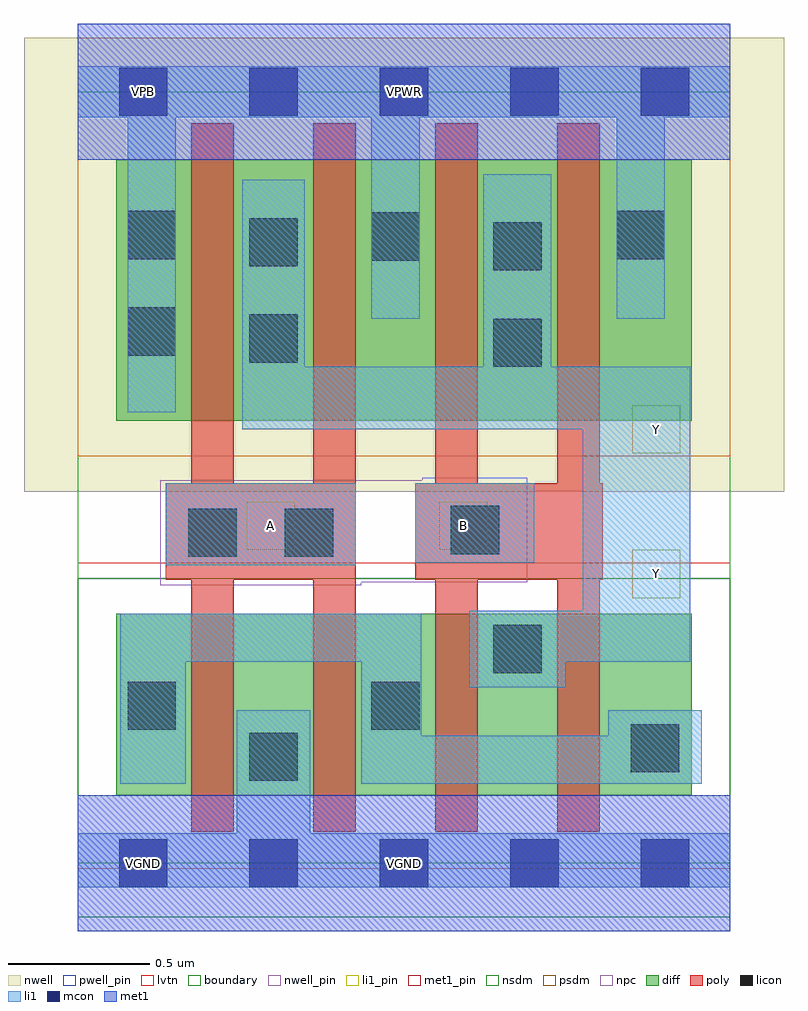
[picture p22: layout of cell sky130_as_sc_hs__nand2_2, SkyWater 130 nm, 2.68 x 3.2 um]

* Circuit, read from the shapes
.subckt sky130_as_sc_hs__nand2_2 A B VGND VNB VPB VPWR Y
XM1 VGND A n1 VNB sky130_fd_pr__nfet_01v8_lvt w=0.64 l=0.15 m=2
XM2 Y B n1 VNB sky130_fd_pr__nfet_01v8_lvt w=0.64 l=0.15 m=2
XM3 Y A VPWR VPB sky130_fd_pr__pfet_01v8 w=0.92 l=0.15 m=2
XM4 Y B VPWR VPB sky130_fd_pr__pfet_01v8 w=0.92 l=0.15 m=2
.ends

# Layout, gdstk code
import gdstk
lib = gdstk.Library(unit=1e-6, precision=1e-09)
def R(c, l, rs):  # rectangles x0, y0, x1, y1
    for r in rs: c.add(gdstk.rectangle(r[:2], r[2:], *l))
def A(c, l, x, y, w, h, nx, ny, dx, dy):  # array of equal rectangles
    R(c, l, [(x+i*dx, y+j*dy, x+i*dx+w, y+j*dy+h) for i in range(nx) for j in range(ny)])
nwell_pin = (64, 16)
nwell = (64, 20)
diff = (65, 20)
poly = (66, 20)
licon = (66, 44)
li1_pin = (67, 16)
li1 = (67, 20)
mcon = (67, 44)
met1_pin = (68, 16)
met1 = (68, 20)
nsdm = (93, 44)
psdm = (94, 20)
npc = (95, 20)
pwell_pin = (122, 16)
lvtn = (125, 44)
boundary = (235, 4)

sky130_as_sc_hs__nand2_2 = lib.new_cell('sky130_as_sc_hs__nand2_2')
R(sky130_as_sc_hs__nand2_2, nwell_pin, [(0.145,2.635,0.315,2.805)])
R(sky130_as_sc_hs__nand2_2, nwell, [(-0.19,1.31,2.49,2.91)])
R(sky130_as_sc_hs__nand2_2, diff, [(0.135,0.24,2.165,0.88), (0.135,1.56,2.165,2.48)])
A(sky130_as_sc_hs__nand2_2, poly, 0.4, 0.11, 0.15, 0.89, 4, 1, 0.43, 0)
A(sky130_as_sc_hs__nand2_2, poly, 0.4, 1.34, 0.15, 1.27, 4, 1, 0.43, 0)
R(sky130_as_sc_hs__nand2_2, poly, [(0.31,1,0.98,1.34), (1.19,1,1.85,1.34)])
R(sky130_as_sc_hs__nand2_2, licon, [(0.605,0.29,0.775,0.46), (1.95,0.32,2.12,0.49), (0.175,0.47,0.345,0.64), (1.035,0.47,1.205,0.64), (1.465,0.67,1.635,0.84), (0.39,1.08,0.56,1.25), (0.73,1.08,0.9,1.25), (1.315,1.09,1.485,1.26), (1.465,1.75,1.635,1.92), (0.605,1.765,0.775,1.935), (0.175,1.79,0.345,1.96), (1.465,2.09,1.635,2.26), (0.605,2.105,0.775,2.275), (1.035,2.125,1.205,2.295), (0.175,2.13,0.345,2.3), (1.9,2.13,2.07,2.3)])
R(sky130_as_sc_hs__nand2_2, li1_pin, [(1.955,0.935,2.125,1.105), (0.595,1.105,0.765,1.275), (1.275,1.105,1.445,1.275), (1.955,1.445,2.125,1.615)])
R(sky130_as_sc_hs__nand2_2, li1, [(0,-0.085,2.3,0.105), (0.56,0.105,0.82,0.54), (0.15,0.28,0.38,0.71), (1,0.28,2.2,0.45), (1,0.45,1.21,0.71), (1.87,0.45,2.2,0.54), (1.38,0.62,1.72,0.71), (0.15,0.71,1.21,0.88), (1.38,0.71,2.16,0.89), (1.78,0.89,2.16,1.53), (0.31,1.05,0.98,1.34), (1.19,1.06,1.61,1.34), (0.58,1.53,2.16,1.75), (0.175,1.59,0.345,2.63), (0.58,1.75,0.8,2.41), (1.43,1.75,1.67,2.43), (1.035,1.92,1.205,2.63), (1.9,1.92,2.07,2.63), (0,2.63,2.3,2.81)])
A(sky130_as_sc_hs__nand2_2, mcon, 0.145, -0.085, 0.17, 0.17, 5, 2, 0.46, 2.72)
R(sky130_as_sc_hs__nand2_2, met1_pin, [(0,-0.24,2.3,0.24), (0.145,-0.085,0.315,0.085), (0,2.48,2.3,2.96), (0.145,2.635,0.315,2.805)])
R(sky130_as_sc_hs__nand2_2, met1, [(0,-0.24,2.3,0.24), (0,2.48,2.3,2.96)])
R(sky130_as_sc_hs__nand2_2, nsdm, [(0,-0.19,2.3,1.005)])
R(sky130_as_sc_hs__nand2_2, psdm, [(0,1.435,2.3,2.91)])
R(sky130_as_sc_hs__nand2_2, npc, [(0.29,0.98,1,0.99), (0.29,0.99,1.585,1.35), (1.215,1.35,1.585,1.36)])
R(sky130_as_sc_hs__nand2_2, pwell_pin, [(0.145,-0.085,0.315,0.085)])
R(sky130_as_sc_hs__nand2_2, lvtn, [(0,-0.02,2.3,1.06)])
R(sky130_as_sc_hs__nand2_2, boundary, [(0,0,2.3,2.72)])
sky130_as_sc_hs__nand2_2.add(gdstk.Label('VPB', (0.23,2.72), layer=64, texttype=5))
sky130_as_sc_hs__nand2_2.add(gdstk.Label('VPB', (0.23,2.72), layer=64, texttype=5))
sky130_as_sc_hs__nand2_2.add(gdstk.Label('VGND', (0.23,0), layer=68, texttype=5))
sky130_as_sc_hs__nand2_2.add(gdstk.Label('VGND', (1.15,0), layer=68, texttype=5))
sky130_as_sc_hs__nand2_2.add(gdstk.Label('VPWR', (0.23,2.72), layer=68, texttype=5))
sky130_as_sc_hs__nand2_2.add(gdstk.Label('VPWR', (1.15,2.72), layer=68, texttype=5))
sky130_as_sc_hs__nand2_2.add(gdstk.Label('VNB', (0.23,0), layer=64, texttype=59))
sky130_as_sc_hs__nand2_2.add(gdstk.Label('VNB', (0.23,0), layer=64, texttype=59))
sky130_as_sc_hs__nand2_2.add(gdstk.Label('Y', (2.04,1.02), layer=67, texttype=5))
sky130_as_sc_hs__nand2_2.add(gdstk.Label('Y', (2.04,1.02), layer=67, texttype=5))
sky130_as_sc_hs__nand2_2.add(gdstk.Label('Y', (2.04,1.53), layer=67, texttype=5))
sky130_as_sc_hs__nand2_2.add(gdstk.Label('Y', (2.04,1.53), layer=67, texttype=5))
sky130_as_sc_hs__nand2_2.add(gdstk.Label('B', (1.36,1.19), layer=67, texttype=5))
sky130_as_sc_hs__nand2_2.add(gdstk.Label('B', (1.36,1.19), layer=67, texttype=5))
sky130_as_sc_hs__nand2_2.add(gdstk.Label('A', (0.68,1.19), layer=67, texttype=5))
sky130_as_sc_hs__nand2_2.add(gdstk.Label('A', (0.68,1.19), layer=67, texttype=5))

lib.write_gds('sky130_as_sc_hs__nand2_2.gds')
